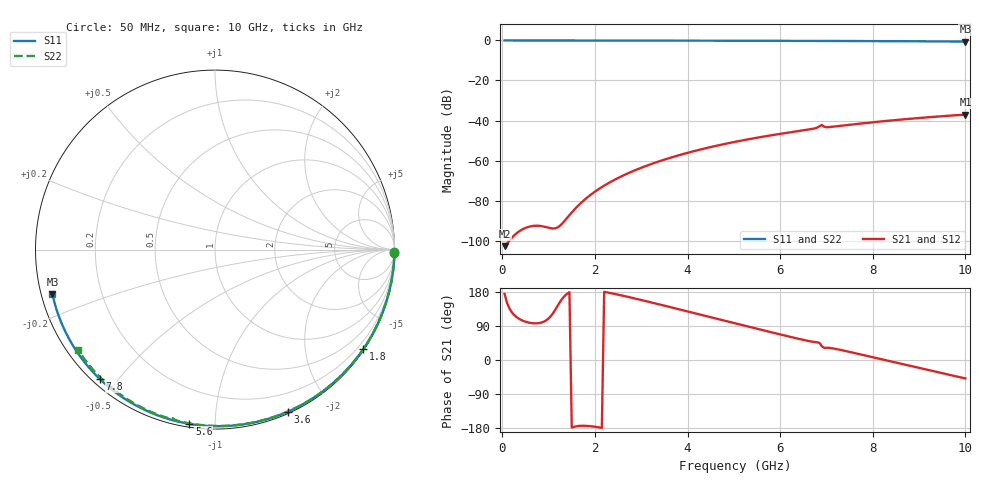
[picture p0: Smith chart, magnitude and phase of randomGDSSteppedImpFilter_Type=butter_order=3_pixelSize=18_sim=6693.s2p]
! freq	dB(S11)	phase(S11)	dB(S12)	phase(S12)
!  dB(S21)	phase(S21)	dB(S22)	phase(S22)
!S-par simulation data
#  GHz  S  DB  R 50
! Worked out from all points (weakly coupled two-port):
!   200 points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, 50 MHz to 10 GHz, reference 50 ohm
!   highest |S21| = -37.04 dB at 10 GHz (marker M1); lowest = -102.8 dB at 50 MHz (marker M2)
!   lowest |S11| = -0.5 dB at 10 GHz (marker M3), VSWR 31.83, Z = 1.6 - j6.75 ohm
!   |S11| at or under -10 dB: nowhere
!   |S22| runs from -0.5 to 0.0 dB; largest |S21 - S12| = 0
!   S11 on the Smith chart (normalised r, x): 50 MHz: open; 1.8 GHz: 0.03, -3.29; 3.6 GHz: 0.02, -1.55; 5.6 GHz: 0.02, -0.86; 7.8 GHz: 0.02, -0.45; 10 GHz: 0.03, -0.13
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0.05  -0.00 -1.0  -102.77 174.5  -102.77 174.5  -0.00 -0.8
0.9  -0.02 -17.1  -92.99 101.3  -92.99 101.3  -0.02 -14.9
1.75  -0.04 -32.9  -80.10 -173.6  -80.10 -173.6  -0.04 -28.7
1.8  -0.04 -33.8  -79.11 -173.8  -79.11 -173.8  -0.04 -29.5
2.1  -0.05 -39.3  -73.98 -178.0  -73.98 -178.0  -0.04 -34.3
2.5  -0.06 -46.5  -68.71 172.4  -68.71 172.4  -0.05 -40.7
2.9  -0.07 -53.6  -64.52 161.3  -64.52 161.3  -0.06 -46.9
3.4  -0.08 -62.3  -60.28 146.4  -60.28 146.4  -0.07 -54.6
3.6  -0.09 -65.8  -58.80 140.4  -58.80 140.4  -0.08 -57.6
4.3  -0.11 -77.5  -54.36 119.1  -54.36 119.1  -0.10 -68.0
5.05  -0.14 -89.7  -50.54 96.1  -50.54 96.1  -0.12 -78.8
5.6  -0.16 -98.4  -48.19 79.5  -48.19 79.5  -0.14 -86.5
6.15  -0.19 -106.9  -46.12 63.1  -46.12 63.1  -0.17 -94.1
6.7  -0.23 -115.3  -44.16 48.2  -44.16 48.2  -0.20 -101.5
6.8  -0.23 -116.8  -43.53 46.6  -43.53 46.6  -0.22 -102.9
6.9  -0.24 -118.3  -42.23 36.3  -42.23 36.3  -0.28 -104.0
6.95  -0.24 -119.0  -43.07 32.0  -43.07 32.0  -0.24 -104.5
7.05  -0.25 -120.5  -43.30 32.1  -43.30 32.1  -0.22 -105.9
7.8  -0.31 -131.7  -41.36 12.9  -41.36 12.9  -0.27 -115.7
8.35  -0.36 -139.8  -40.08 -2.8  -40.08 -2.8  -0.31 -122.8
9.2  -0.45 -152.5  -38.36 -26.8  -38.36 -26.8  -0.39 -133.5
10  -0.55 -164.6  -37.04 -48.6  -37.04 -48.6  -0.48 -143.7
